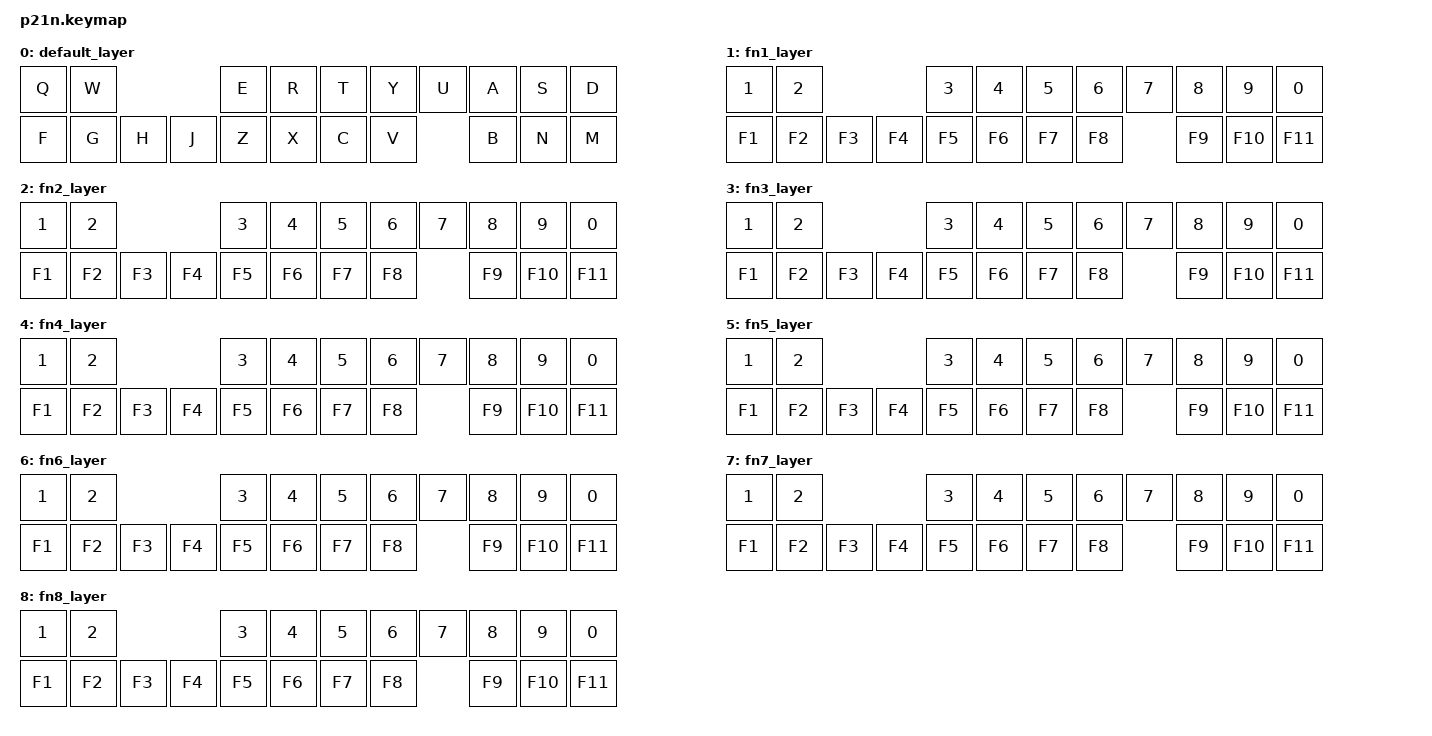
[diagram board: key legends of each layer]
/*
 * Copyright (c) 2020 The ZMK Contributors
 *
 * SPDX-License-Identifier: MIT
 */

#include <behaviors.dtsi>
#include <dt-bindings/zmk/keys.h>
#include <dt-bindings/zmk/rgb.h>
#include <dt-bindings/zmk/bt.h>
#include <dt-bindings/zmk/outputs.h>
#include <dt-bindings/zmk/ext_power.h>
#include <dt-bindings/zmk/mouse.h>

/ {
      macros {
        xtips: xtips {
            compatible = "zmk,behavior-macro";
            label = "XTIPS";
            #binding-cells = <0>;
            bindings = <&kp LS(X) &kp KP_DOT &kp LS(T) &kp I &kp P &kp S>;
            wait-ms = <1>;
            tap-ms = <1>;
        };
      };

	keymap0: keymap {
		compatible = "zmk,keymap";

		default_layer {
            bindings = <
            &kp Q     &kp W       &kp E       &kp R       &kp T       &kp Y       &kp U
            &kp A     &kp S       &kp D       &kp F       &kp G       &kp H       &kp J
            &kp Z     &kp X       &kp C       &kp V       &kp B       &kp N       &kp M
            >;
		};

		fn1_layer {
            bindings = <
            &kp N1     &kp N2       &kp N3       &kp N4       &kp N5       &kp N6       &kp N7       &kp N8       &kp N9       &kp N0
            &kp F1     &kp F2       &kp F3       &kp F4       &kp F5       &kp F6       &kp F7       &kp F8       &kp F9       &kp F10       &kp F11
             >;
		};

		fn2_layer {
            bindings = <
            &kp N1     &kp N2       &kp N3       &kp N4       &kp N5       &kp N6       &kp N7       &kp N8       &kp N9       &kp N0
            &kp F1     &kp F2       &kp F3       &kp F4       &kp F5       &kp F6       &kp F7       &kp F8       &kp F9       &kp F10       &kp F11
            >;
		};

		fn3_layer {
            bindings = <
            &kp N1     &kp N2       &kp N3       &kp N4       &kp N5       &kp N6       &kp N7       &kp N8       &kp N9       &kp N0
            &kp F1     &kp F2       &kp F3       &kp F4       &kp F5       &kp F6       &kp F7       &kp F8       &kp F9       &kp F10       &kp F11
            >;
		};

		fn4_layer {
            bindings = <
            &kp N1     &kp N2       &kp N3       &kp N4       &kp N5       &kp N6       &kp N7       &kp N8       &kp N9       &kp N0
            &kp F1     &kp F2       &kp F3       &kp F4       &kp F5       &kp F6       &kp F7       &kp F8       &kp F9       &kp F10       &kp F11
            >;
		};

		fn5_layer {
            bindings = <
            &kp N1     &kp N2       &kp N3       &kp N4       &kp N5       &kp N6       &kp N7       &kp N8       &kp N9       &kp N0
            &kp F1     &kp F2       &kp F3       &kp F4       &kp F5       &kp F6       &kp F7       &kp F8       &kp F9       &kp F10       &kp F11
            >;
		};

		fn6_layer {
            bindings = <
            &kp N1     &kp N2       &kp N3       &kp N4       &kp N5       &kp N6       &kp N7       &kp N8       &kp N9       &kp N0
            &kp F1     &kp F2       &kp F3       &kp F4       &kp F5       &kp F6       &kp F7       &kp F8       &kp F9       &kp F10       &kp F11
            >;
		};

		fn7_layer {
            bindings = <
            &kp N1     &kp N2       &kp N3       &kp N4       &kp N5       &kp N6       &kp N7       &kp N8       &kp N9       &kp N0
            &kp F1     &kp F2       &kp F3       &kp F4       &kp F5       &kp F6       &kp F7       &kp F8       &kp F9       &kp F10       &kp F11
            >;
		};

		fn8_layer {
            bindings = <
            &kp N1     &kp N2       &kp N3       &kp N4       &kp N5       &kp N6       &kp N7       &kp N8       &kp N9       &kp N0
            &kp F1     &kp F2       &kp F3       &kp F4       &kp F5       &kp F6       &kp F7       &kp F8       &kp F9       &kp F10       &kp F11
            >;
		};
	};
};
